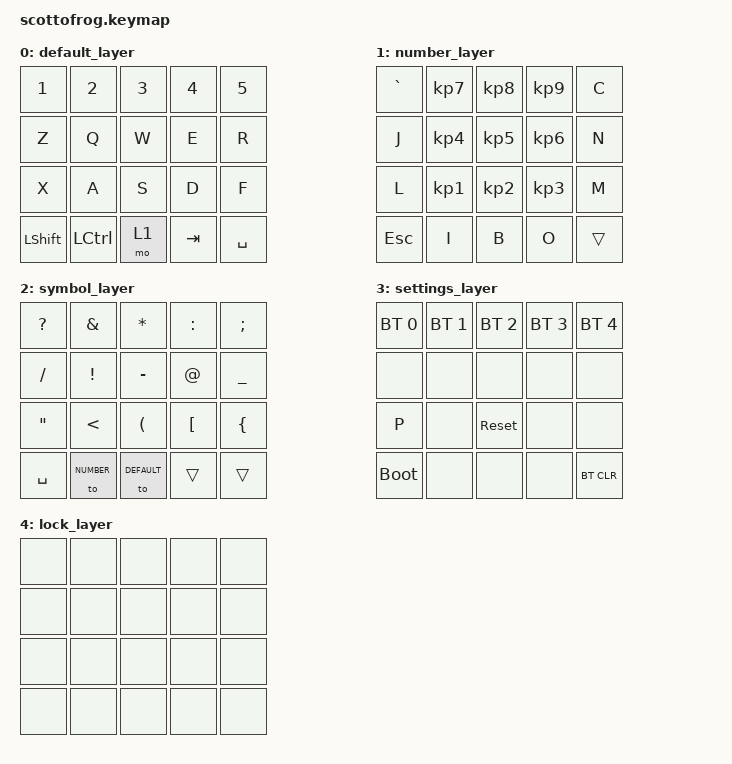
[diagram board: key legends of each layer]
#include <behaviors.dtsi>
#include <dt-bindings/zmk/keys.h>
#include <dt-bindings/zmk/bt.h>

#define DEFAULT 0
#define NUMBER 1
#define SYMBOL 2
#define SETTINGS 3
#define LOCK 4

#define COMBO_TIMEOUT 50

/ {
    combos {
        compatible = "zmk,combos";

        // Meta combos
        meta_settings_combo {
            timeout-ms = <50>;
            key-positions = <16 17 18>;
            bindings = <&mo SETTINGS>;
        };

        meta_lock_combo {
            timeout-ms = <50>;
            key-positions = <15 17 19>;
            bindings = <&tog LOCK>;
        };
        
    };
 
    keymap {
        compatible = "zmk,keymap";

        default_layer {
            bindings = <
                          &kp N1       &kp N2 &kp N3       &kp N4 &kp N5 
                          &kp Z       &kp Q &kp W       &kp E &kp R 
                          &kp X       &kp A &kp S       &kp D &kp F 
                &kp LSHIFT &kp LEFT_CONTROL        &mo 1       &kp TAB &kp SPACE 
            >;
        };

        number_layer {
            bindings = <
                            &kp GRAVE   &kp KP_N7 &kp KP_N8     &kp KP_N9 &kp C
                            &kp J   &kp KP_N4 &kp KP_N5     &kp KP_N6 &kp N
                            &kp L      &kp KP_N1 &kp KP_N2     &kp KP_N3 &kp M
                &kp ESC   &kp I       &kp B        &kp O      &trans
            >;
        }; 

        symbol_layer {
            bindings = <
                          &kp QUESTION      &kp AMPERSAND   &kp ASTERISK         &kp COLON        &kp SEMICOLON
                          &kp SLASH         &kp EXCLAMATION &kp MINUS            &kp AT           &kp UNDERSCORE
                          &kp DOUBLE_QUOTES &kp LESS_THAN   &kp LEFT_PARENTHESIS &kp LEFT_BRACKET &kp LEFT_BRACE 
                &kp SPACE &to NUMBER                        &to DEFAULT                           &trans         &trans
            >;
        }; 
        
        settings_layer {
            bindings = <
                            &bt BT_SEL 0 &bt BT_SEL 1 &bt BT_SEL 2 &bt BT_SEL 3 &bt BT_SEL 4
                            &none        &none        &none        &none        &none 
                            &kp P        &none        &sys_reset   &none        &none 
                &bootloader &none                     &none                     &none        &bt BT_CLR
            >;
        };

        lock_layer {
            bindings = <
                      &none &none &none &none &none 
                      &none &none &none &none &none 
                      &none &none &none &none &none 
                &none &none       &none       &none       &none
            >;
        };
    };
};
